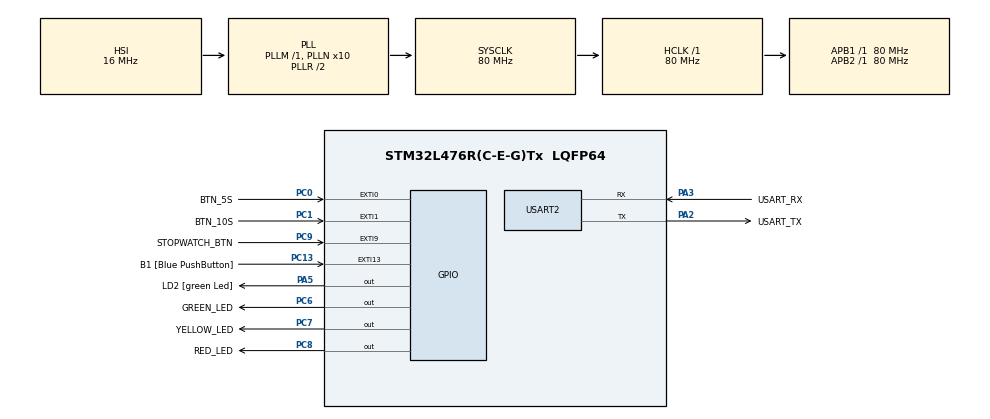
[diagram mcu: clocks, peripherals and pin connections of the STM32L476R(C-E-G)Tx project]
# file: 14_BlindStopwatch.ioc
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Mcu.Family=STM32L4
Mcu.Name=STM32L476R(C-E-G)Tx
Mcu.Package=LQFP64
NVIC.EXTI0_IRQn=true\:0\:0\:false\:false\:true\:true\:true\:true
NVIC.EXTI1_IRQn=true\:0\:0\:false\:false\:true\:true\:true\:true
NVIC.EXTI9_5_IRQn=true\:0\:0\:false\:false\:true\:true\:true\:true
NVIC.PriorityGroup=NVIC_PRIORITYGROUP_4
NVIC.TIM2_IRQn=true\:0\:0\:false\:false\:true\:true\:true\:true
PA13\ (JTMS-SWDIO).GPIO_Label=TMS
PA13\ (JTMS-SWDIO).Mode=Serial_Wire
PA13\ (JTMS-SWDIO).Signal=SYS_JTMS-SWDIO
PA14\ (JTCK-SWCLK).GPIO_Label=TCK
PA14\ (JTCK-SWCLK).Mode=Serial_Wire
PA14\ (JTCK-SWCLK).Signal=SYS_JTCK-SWCLK
PA2.GPIO_Label=USART_TX
PA2.GPIO_Mode=GPIO_MODE_AF_PP
PA2.GPIO_PuPd=GPIO_NOPULL
PA2.GPIO_Speed=GPIO_SPEED_FREQ_VERY_HIGH
PA2.Mode=Asynchronous
PA2.Signal=USART2_TX
PA3.GPIO_Label=USART_RX
PA3.GPIO_Mode=GPIO_MODE_AF_PP
PA3.GPIO_PuPd=GPIO_NOPULL
PA3.GPIO_Speed=GPIO_SPEED_FREQ_VERY_HIGH
PA3.Mode=Asynchronous
PA3.Signal=USART2_RX
PA5.GPIO_Label=LD2 [green Led]
PA5.GPIO_ModeDefaultOutputPP=GPIO_MODE_OUTPUT_PP
PA5.GPIO_PuPd=GPIO_NOPULL
PA5.GPIO_Speed=GPIO_SPEED_FREQ_LOW
PA5.Signal=GPIO_Output
PB3\ (JTDO-TRACESWO).GPIO_Label=SWO
PB3\ (JTDO-TRACESWO).Signal=SYS_JTDO-SWO
PC0.GPIO_Label=BTN_5S
PC0.GPIO_ModeDefaultEXTI=GPIO_MODE_IT_FALLING
PC0.GPIO_PuPd=GPIO_PULLUP
PC0.Signal=GPXTI0
PC1.GPIO_Label=BTN_10S
PC1.GPIO_ModeDefaultEXTI=GPIO_MODE_IT_FALLING
PC1.GPIO_PuPd=GPIO_PULLUP
PC1.Signal=GPXTI1
PC13.GPIO_Label=B1 [Blue PushButton]
PC13.GPIO_ModeDefaultEXTI=GPIO_MODE_IT_FALLING
PC13.GPIO_PuPd=GPIO_NOPULL
PC13.Signal=GPXTI13
PC14-OSC32_IN\ (PC14).Mode=LSE-External-Oscillator
PC14-OSC32_IN\ (PC14).Signal=RCC_OSC32_IN
PC15-OSC32_OUT\ (PC15).Mode=LSE-External-Oscillator
PC15-OSC32_OUT\ (PC15).Signal=RCC_OSC32_OUT
PC6.GPIO_Label=GREEN_LED
PC6.Signal=GPIO_Output
PC7.GPIO_Label=YELLOW_LED
PC7.Signal=GPIO_Output
PC8.GPIO_Label=RED_LED
PC8.Signal=GPIO_Output
PC9.GPIO_Label=STOPWATCH_BTN
PC9.GPIO_ModeDefaultEXTI=GPIO_MODE_IT_FALLING
PC9.GPIO_PuPd=GPIO_PULLUP
PC9.Signal=GPXTI9
PH0-OSC_IN\ (PH0).Signal=RCC_OSC_IN
PH1-OSC_OUT\ (PH1).Signal=RCC_OSC_OUT
ProjectManager.HeapSize=0x200
ProjectManager.StackSize=0x400
ProjectManager.TargetToolchain=STM32CubeIDE
RCC.ADCFreq_Value=64000000
RCC.AHBFreq_Value=80000000
RCC.APB1Freq_Value=80000000
RCC.APB1TimFreq_Value=80000000
RCC.APB2Freq_Value=80000000
RCC.APB2TimFreq_Value=80000000
RCC.CortexFreq_Value=80000000
RCC.HCLKFreq_Value=80000000
RCC.HSE_VALUE=8000000
RCC.HSI_VALUE=16000000
RCC.MSI_VALUE=4000000
RCC.PLLN=10
RCC.PLLSourceVirtual=RCC_PLLSOURCE_HSI
RCC.PREFETCH_ENABLE=1
RCC.SYSCLKFreq_VALUE=80000000
RCC.SYSCLKSource=RCC_SYSCLKSOURCE_PLLCLK
RCC.USBFreq_Value=64000000
RCC.VCOOutputFreq_Value=160000000
TIM2.AutoReloadPreload=TIM_AUTORELOAD_PRELOAD_ENABLE
TIM2.Period=14999999
TIM2.Prescaler=79
USART2.VirtualMode-Asynchronous=VM_ASYNC
VP_TIM2_VS_ClockSourceINT.Mode=Internal
board=NUCLEO-L476RG

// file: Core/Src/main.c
/* USER CODE BEGIN Header */
/**
  ******************************************************************************
  * @file           : main.c
  * @brief          : Main program body
  ******************************************************************************
  * @attention
  *
  * Copyright (c) 2026 STMicroelectronics.
  * All rights reserved.
  *
  * This software is licensed under terms that can be found in the LICENSE file
  * in the root directory of this software component.
  * If no LICENSE file comes with this software, it is provided AS-IS.
  *
  ******************************************************************************
  */
/* USER CODE END Header */
#include "main.h"

/* USER CODE BEGIN Includes */
#include <stdio.h>
#include <string.h>
#include <stdlib.h>
/* USER CODE END Includes */

/* USER CODE BEGIN PTD */
typedef enum
{
	STATE_IDLE,
	STATE_MODE_5S_CHOSEN,
	STATE_WAITING_TO_START_5S,
	STATE_RUNNING_5S,
	STATE_WAITING_TO_STOP_5S,
	STATE_EVALUATE_5S,
	STATE_MODE_10S_CHOSEN,
	STATE_WAITING_TO_START_10S,
	STATE_RUNNING_10S,
	STATE_WAITING_TO_STOP_10S,
	STATE_EVALUATE_10S,
	STATE_TIMEOUT
} GameState_t;
/* USER CODE END PTD */

/* USER CODE BEGIN PD */
GameState_t current_state = STATE_IDLE;
char tx_buffer[64];

volatile uint32_t final_time = 0;
volatile uint32_t last_button_press = 0;

int32_t current_score = 0;
/* USER CODE END PD */

TIM_HandleTypeDef htim2;

UART_HandleTypeDef huart2;

void SystemClock_Config(void);
static void MX_GPIO_Init(void);
static void MX_TIM2_Init(void);
static void MX_USART2_UART_Init(void);

int main(void)
{

  /* MCU Configuration--------------------------------------------------------*/

  /* Reset of all peripherals, Initializes the Flash interface and the Systick. */
  HAL_Init();

  /* Configure the system clock */
  SystemClock_Config();

  /* Initialize all configured peripherals */
  MX_GPIO_Init();
  MX_TIM2_Init();
  MX_USART2_UART_Init();
  /* USER CODE BEGIN 2 */
  snprintf(tx_buffer, sizeof(tx_buffer), "\r\n*** BLIND STOPWATCH ***\r\nSelect Mode: Press 5S or 10S Button to begin!\r\n");
  HAL_UART_Transmit(&huart2, (uint8_t*)tx_buffer, strlen(tx_buffer), 100);
  /* USER CODE END 2 */

  /* Infinite loop */
  /* USER CODE BEGIN WHILE */
  while (1)
  {
	  switch (current_state)
	  {
	  case STATE_IDLE:
	  case STATE_WAITING_TO_START_5S:
	  case STATE_WAITING_TO_STOP_5S:
	  case STATE_WAITING_TO_START_10S:
	  case STATE_WAITING_TO_STOP_10S:
		  // Do nothing. The CPU just spins here while the hardware waits for a button press
		  break;

	  case STATE_MODE_5S_CHOSEN:
		  // Turn OFF LEDs
		  HAL_GPIO_WritePin(GREEN_LED_GPIO_Port, GREEN_LED_Pin, GPIO_PIN_RESET);
		  HAL_GPIO_WritePin(YELLOW_LED_GPIO_Port, YELLOW_LED_Pin, GPIO_PIN_RESET);
		  HAL_GPIO_WritePin(RED_LED_GPIO_Port, RED_LED_Pin, GPIO_PIN_RESET);

		  // Text
		  snprintf(tx_buffer, sizeof(tx_buffer), "\r\n--- 5S MODE ---\r\nClick STOPWATCH button to START!\r\n");
		  HAL_UART_Transmit(&huart2, (uint8_t*)tx_buffer, strlen(tx_buffer), 100);

		  current_state = STATE_WAITING_TO_START_5S;
		  break;

	  case STATE_MODE_10S_CHOSEN:
		  // Turn OFF LEDs
		  HAL_GPIO_WritePin(GREEN_LED_GPIO_Port, GREEN_LED_Pin, GPIO_PIN_RESET);
		  HAL_GPIO_WritePin(YELLOW_LED_GPIO_Port, YELLOW_LED_Pin, GPIO_PIN_RESET);
		  HAL_GPIO_WritePin(RED_LED_GPIO_Port, RED_LED_Pin, GPIO_PIN_RESET);

		  // Text
		  snprintf(tx_buffer, sizeof(tx_buffer), "\r\n--- 10S MODE ---\r\nClick STOPWATCH button to START!\r\n");
		  HAL_UART_Transmit(&huart2, (uint8_t*)tx_buffer, strlen(tx_buffer), 100);

		  current_state = STATE_WAITING_TO_START_10S;
		  break;

	  case STATE_EVALUATE_5S:
	  {
  		  int32_t target_5S = 5000000;
  		  int32_t result_5S = abs(final_time - target_5S);

  		  // Extracting seconds and miliseconds for printing
  		  uint32_t sec = final_time / 1000000;
  		  uint32_t ms = (final_time % 1000000) / 1000;

  		  // 500000 = 500ms = 0.5s
  		  // 100000 = 1s
  		  if (result_5S < 500000)
  		  {
  			  // Green LED user gets 1000 points
  			  current_score += 1000;
  			  HAL_GPIO_WritePin(GREEN_LED_GPIO_Port, GREEN_LED_Pin, GPIO_PIN_SET);
  			  snprintf(tx_buffer, sizeof(tx_buffer), "Time: %lu.%03lus | GREEN (+1000 pts) | Score: %ld\r\n", sec, ms, current_score);
  		  }
  		  else if (result_5S >= 500000 && result_5S < 1000000)
  		  {
  			  // Yellow LED user gets 0 points
  			  HAL_GPIO_WritePin(YELLOW_LED_GPIO_Port, YELLOW_LED_Pin, GPIO_PIN_SET);
  			  snprintf(tx_buffer, sizeof(tx_buffer), "Time: %lu.%03lus | YELLOW (+0 pts)| Score: %ld\r\n", sec, ms, current_score);
  		  }
  		  else if (result_5S >= 1000000)
  		  {
  			  // Red LED user gets -500 points
  			  current_score -= 500;
  			  HAL_GPIO_WritePin(RED_LED_GPIO_Port, RED_LED_Pin, GPIO_PIN_SET);
  			  snprintf(tx_buffer, sizeof(tx_buffer), "Time: %lu.%03lus | RED (-500 pts) | Score: %ld\r\n", sec, ms, current_score);
  		  }
  		  HAL_UART_Transmit(&huart2, (uint8_t*)tx_buffer, strlen(tx_buffer), 100);

  		  // Win/loss reset condition
  		  if (current_score >= 5000)
  		  {
  			  snprintf(tx_buffer, sizeof(tx_buffer), "\r\n*** YOU WIN! 5000 POINTS REACHED! ***\r\n\r\n");
  			  HAL_UART_Transmit(&huart2, (uint8_t*)tx_buffer, strlen(tx_buffer), 100);
  			  current_score = 0;
  		  }
  		  else if (current_score <= -2000)
  		  {
  			  snprintf(tx_buffer, sizeof(tx_buffer), "\r\n*** GAME OVER. YOU DROPPED TO -2000 POINTS. ***\r\n\r\n");
  			  HAL_UART_Transmit(&huart2, (uint8_t*)tx_buffer, strlen(tx_buffer), 100);
  		  }

  		  // Prompt the user for the next round
		  snprintf(tx_buffer, sizeof(tx_buffer), "\r\nSelect Mode: Press 5S or 10S Button to begin!\r\n");
		  HAL_UART_Transmit(&huart2, (uint8_t*)tx_buffer, strlen(tx_buffer), 100);

  		  current_state = STATE_IDLE;	// Reset for the next round
  		  break;

	  }

	  	  case STATE_EVALUATE_10S:
	  	  {
	  		  int32_t target_10S = 10000000;
			  int32_t result_10S = abs(final_time - target_10S);

			  uint32_t sec = final_time / 1000000;
			  uint32_t ms = (final_time % 1000000) / 1000;

			  if (result_10S < 1000000)
			  {
				  // Green LED and +1000 pts
				  current_score += 1000;
				  HAL_GPIO_WritePin(GREEN_LED_GPIO_Port, GREEN_LED_Pin, GPIO_PIN_SET);
				  snprintf(tx_buffer, sizeof(tx_buffer), "Time: %lu.%03lus | GREEN (+1000 pts) | Score: %ld\r\n", sec, ms, current_score);
			  }
			  else if (result_10S <= 1000000 && result_10S < 2000000)
			  {
				  // Yellow LED and +0 pts
				  HAL_GPIO_WritePin(YELLOW_LED_GPIO_Port, YELLOW_LED_Pin, GPIO_PIN_SET);
				  snprintf(tx_buffer, sizeof(tx_buffer), "Time: %lu.%03lus | YELLOW (+0 pts) | Score: %ld\r\n", sec, ms, current_score);
			  }
			  else if (result_10S >= 2000000)
			  {
				  // Red LED and -500 pts
				  current_score -= 500;
				  HAL_GPIO_WritePin(RED_LED_GPIO_Port, RED_LED_Pin, GPIO_PIN_SET);
				  snprintf(tx_buffer, sizeof(tx_buffer), "Time: %lu.%03lus | RED (-500 pts) | Score: %ld\r\n", sec, ms, current_score);
			  }
			  HAL_UART_Transmit(&huart2, (uint8_t*)tx_buffer, strlen(tx_buffer), 100);

			  // Win/loss reset condition
			  if (current_score >= 5000)
			  {
				  snprintf(tx_buffer, sizeof(tx_buffer), "\r\n*** YOU WIN! 5000 POINTS REACHED! ***\r\n\r\n");
				  HAL_UART_Transmit(&huart2, (uint8_t*)tx_buffer, strlen(tx_buffer), 100);
				  current_score = 0;
			  }
			  else if (current_score <= -2000)
			  {
				  snprintf(tx_buffer, sizeof(tx_buffer), "\r\n*** GAME OVER. YOU DROPPED TO -2000 POINTS. ***\r\n\r\n");
				  HAL_UART_Transmit(&huart2, (uint8_t*)tx_buffer, strlen(tx_buffer), 100);
				  current_score = 0;
			  }

			  // Prompt the user for the next round
			  snprintf(tx_buffer, sizeof(tx_buffer), "\r\nSelect Mode: Press 5S or 10S Button to begin!\r\n");
			  HAL_UART_Transmit(&huart2, (uint8_t*)tx_buffer, strlen(tx_buffer), 100);

			  current_state = STATE_IDLE;
			  break;
	  	  }

	  	  case STATE_RUNNING_5S:
	  		  snprintf(tx_buffer, sizeof(tx_buffer), "Timer is running... Count 5s!\r\n");
	  		  HAL_UART_Transmit(&huart2, (uint8_t*)tx_buffer, strlen(tx_buffer), 100);
	  		  current_state = STATE_WAITING_TO_STOP_5S;
	  		  break;

	  	  case STATE_RUNNING_10S:
	  		  snprintf(tx_buffer, sizeof(tx_buffer), "Timer is running... Count 10s!\r\n");
	  		  HAL_UART_Transmit(&huart2, (uint8_t*)tx_buffer, strlen(tx_buffer), 100);
	  		  current_state = STATE_WAITING_TO_STOP_10S;
	  		  break;

	  	  case STATE_TIMEOUT:
	  		  current_score -= 500;
	  		  HAL_GPIO_WritePin(RED_LED_GPIO_Port, RED_LED_Pin, GPIO_PIN_SET);
	  		  snprintf(tx_buffer, sizeof(tx_buffer), "TIMEOUT!\r\n");
	  		  HAL_UART_Transmit(&huart2, (uint8_t*)tx_buffer, strlen(tx_buffer), 100);

	  		  if (current_score <= -2000)
	  		  {
	  			  snprintf(tx_buffer, sizeof(tx_buffer), "GAME OVER. YOU DROPPED TO -2000 POINTS\r\n\r\n");
	  			  HAL_UART_Transmit(&huart2, (uint8_t*)tx_buffer, strlen(tx_buffer), 100);
	  			  current_score = 0;
	  		  }

	  		  // Prompt the user for the next round
			  snprintf(tx_buffer, sizeof(tx_buffer), "\r\nSelect Mode: Press 5S or 10S Button to begin!\r\n");
			  HAL_UART_Transmit(&huart2, (uint8_t*)tx_buffer, strlen(tx_buffer), 100);

	  		  current_state = STATE_IDLE;
	  		  break;
	  }
    /* USER CODE END WHILE */

  }
}

void SystemClock_Config(void)
{
  RCC_OscInitTypeDef RCC_OscInitStruct = {0};
  RCC_ClkInitTypeDef RCC_ClkInitStruct = {0};

  /** Configure the main internal regulator output voltage
  */
  if (HAL_PWREx_ControlVoltageScaling(PWR_REGULATOR_VOLTAGE_SCALE1) != HAL_OK)
  {
    Error_Handler();
  }

  /** Initializes the RCC Oscillators according to the specified parameters
  * in the RCC_OscInitTypeDef structure.
  */
  RCC_OscInitStruct.OscillatorType = RCC_OSCILLATORTYPE_HSI;
  RCC_OscInitStruct.HSIState = RCC_HSI_ON;
  RCC_OscInitStruct.HSICalibrationValue = RCC_HSICALIBRATION_DEFAULT;
  RCC_OscInitStruct.PLL.PLLState = RCC_PLL_ON;
  RCC_OscInitStruct.PLL.PLLSource = RCC_PLLSOURCE_HSI;
  RCC_OscInitStruct.PLL.PLLM = 1;
  RCC_OscInitStruct.PLL.PLLN = 10;
  RCC_OscInitStruct.PLL.PLLP = RCC_PLLP_DIV7;
  RCC_OscInitStruct.PLL.PLLQ = RCC_PLLQ_DIV2;
  RCC_OscInitStruct.PLL.PLLR = RCC_PLLR_DIV2;
  if (HAL_RCC_OscConfig(&RCC_OscInitStruct) != HAL_OK)
  {
    Error_Handler();
  }

  /** Initializes the CPU, AHB and APB buses clocks
  */
  RCC_ClkInitStruct.ClockType = RCC_CLOCKTYPE_HCLK|RCC_CLOCKTYPE_SYSCLK
                              |RCC_CLOCKTYPE_PCLK1|RCC_CLOCKTYPE_PCLK2;
  RCC_ClkInitStruct.SYSCLKSource = RCC_SYSCLKSOURCE_PLLCLK;
  RCC_ClkInitStruct.AHBCLKDivider = RCC_SYSCLK_DIV1;
  RCC_ClkInitStruct.APB1CLKDivider = RCC_HCLK_DIV1;
  RCC_ClkInitStruct.APB2CLKDivider = RCC_HCLK_DIV1;

  if (HAL_RCC_ClockConfig(&RCC_ClkInitStruct, FLASH_LATENCY_4) != HAL_OK)
  {
    Error_Handler();
  }
}

static void MX_TIM2_Init(void)
{

  TIM_ClockConfigTypeDef sClockSourceConfig = {0};
  TIM_MasterConfigTypeDef sMasterConfig = {0};

  htim2.Instance = TIM2;
  htim2.Init.Prescaler = 79;
  htim2.Init.CounterMode = TIM_COUNTERMODE_UP;
  htim2.Init.Period = 14999999;
  htim2.Init.ClockDivision = TIM_CLOCKDIVISION_DIV1;
  htim2.Init.AutoReloadPreload = TIM_AUTORELOAD_PRELOAD_ENABLE;
  if (HAL_TIM_Base_Init(&htim2) != HAL_OK)
  {
    Error_Handler();
  }
  sClockSourceConfig.ClockSource = TIM_CLOCKSOURCE_INTERNAL;
  if (HAL_TIM_ConfigClockSource(&htim2, &sClockSourceConfig) != HAL_OK)
  {
    Error_Handler();
  }
  sMasterConfig.MasterOutputTrigger = TIM_TRGO_RESET;
  sMasterConfig.MasterSlaveMode = TIM_MASTERSLAVEMODE_DISABLE;
  if (HAL_TIMEx_MasterConfigSynchronization(&htim2, &sMasterConfig) != HAL_OK)
  {
    Error_Handler();
  }

}

static void MX_USART2_UART_Init(void)
{

  huart2.Instance = USART2;
  huart2.Init.BaudRate = 115200;
  huart2.Init.WordLength = UART_WORDLENGTH_8B;
  huart2.Init.StopBits = UART_STOPBITS_1;
  huart2.Init.Parity = UART_PARITY_NONE;
  huart2.Init.Mode = UART_MODE_TX_RX;
  huart2.Init.HwFlowCtl = UART_HWCONTROL_NONE;
  huart2.Init.OverSampling = UART_OVERSAMPLING_16;
  huart2.Init.OneBitSampling = UART_ONE_BIT_SAMPLE_DISABLE;
  huart2.AdvancedInit.AdvFeatureInit = UART_ADVFEATURE_NO_INIT;
  if (HAL_UART_Init(&huart2) != HAL_OK)
  {
    Error_Handler();
  }

}

static void MX_GPIO_Init(void)
{
  GPIO_InitTypeDef GPIO_InitStruct = {0};

  /* GPIO Ports Clock Enable */
  __HAL_RCC_GPIOC_CLK_ENABLE();
  __HAL_RCC_GPIOH_CLK_ENABLE();
  __HAL_RCC_GPIOA_CLK_ENABLE();
  __HAL_RCC_GPIOB_CLK_ENABLE();

  /*Configure GPIO pin Output Level */
  HAL_GPIO_WritePin(LD2_GPIO_Port, LD2_Pin, GPIO_PIN_RESET);

  /*Configure GPIO pin Output Level */
  HAL_GPIO_WritePin(GPIOC, GREEN_LED_Pin|YELLOW_LED_Pin|RED_LED_Pin, GPIO_PIN_RESET);

  /*Configure GPIO pin : B1_Pin */
  GPIO_InitStruct.Pin = B1_Pin;
  GPIO_InitStruct.Mode = GPIO_MODE_IT_FALLING;
  GPIO_InitStruct.Pull = GPIO_NOPULL;
  HAL_GPIO_Init(B1_GPIO_Port, &GPIO_InitStruct);

  /*Configure GPIO pins : BTN_5S_Pin BTN_10S_Pin STOPWATCH_BTN_Pin */
  GPIO_InitStruct.Pin = BTN_5S_Pin|BTN_10S_Pin|STOPWATCH_BTN_Pin;
  GPIO_InitStruct.Mode = GPIO_MODE_IT_FALLING;
  GPIO_InitStruct.Pull = GPIO_PULLUP;
  HAL_GPIO_Init(GPIOC, &GPIO_InitStruct);

  /*Configure GPIO pin : LD2_Pin */
  GPIO_InitStruct.Pin = LD2_Pin;
  GPIO_InitStruct.Mode = GPIO_MODE_OUTPUT_PP;
  GPIO_InitStruct.Pull = GPIO_NOPULL;
  GPIO_InitStruct.Speed = GPIO_SPEED_FREQ_LOW;
  HAL_GPIO_Init(LD2_GPIO_Port, &GPIO_InitStruct);

  /*Configure GPIO pins : GREEN_LED_Pin YELLOW_LED_Pin RED_LED_Pin */
  GPIO_InitStruct.Pin = GREEN_LED_Pin|YELLOW_LED_Pin|RED_LED_Pin;
  GPIO_InitStruct.Mode = GPIO_MODE_OUTPUT_PP;
  GPIO_InitStruct.Pull = GPIO_NOPULL;
  GPIO_InitStruct.Speed = GPIO_SPEED_FREQ_LOW;
  HAL_GPIO_Init(GPIOC, &GPIO_InitStruct);

  /* EXTI interrupt init*/
  HAL_NVIC_SetPriority(EXTI0_IRQn, 0, 0);
  HAL_NVIC_EnableIRQ(EXTI0_IRQn);

  HAL_NVIC_SetPriority(EXTI1_IRQn, 0, 0);
  HAL_NVIC_EnableIRQ(EXTI1_IRQn);

  HAL_NVIC_SetPriority(EXTI9_5_IRQn, 0, 0);
  HAL_NVIC_EnableIRQ(EXTI9_5_IRQn);

}

/* USER CODE BEGIN 4 */
void HAL_GPIO_EXTI_Callback(uint16_t GPIO_Pin)
{
	// Debounce filter
	uint32_t current_time = HAL_GetTick();
	if (current_time - last_button_press < 250)	// Ignore inputs faster than 250ms
	{
		return;
	}
	last_button_press = current_time;

	// 5-Second mode
	if (GPIO_Pin == BTN_5S_Pin && current_state == STATE_IDLE)
	{
		TIM2->CNT = 0;
		current_state = STATE_MODE_5S_CHOSEN;
	}
	// 10-Second mode
	else if (GPIO_Pin == BTN_10S_Pin && current_state == STATE_IDLE)
	{
		TIM2->CNT = 0;
		current_state = STATE_MODE_10S_CHOSEN;
	}

	// Stopwatch button
	else if (GPIO_Pin == STOPWATCH_BTN_Pin)
	{
		// Starting the timer
		if (current_state == STATE_WAITING_TO_START_5S)
		{
			TIM2->CNT = 0;
			HAL_TIM_Base_Start_IT(&htim2);
			current_state = STATE_RUNNING_5S;	// Signals main loop to print "Timer running"
		}
		else if (current_state == STATE_WAITING_TO_START_10S)
		{
			TIM2->CNT = 0;
			HAL_TIM_Base_Start_IT(&htim2);
			current_state = STATE_RUNNING_10S;
		}

		// Stopping the timer
		else if (current_state == STATE_WAITING_TO_STOP_5S)
		{
			final_time = TIM2->CNT;
			HAL_TIM_Base_Stop_IT(&htim2);
			current_state = STATE_EVALUATE_5S;	// Signals main loop to calculate score
		}
		else if (current_state == STATE_WAITING_TO_STOP_10S)
		{
			final_time = TIM2->CNT;
			HAL_TIM_Base_Stop_IT(&htim2);
			current_state = STATE_EVALUATE_10S;
		}
	}
}

void HAL_TIM_PeriodElapsedCallback(TIM_HandleTypeDef *htim)
{
	if (htim->Instance == TIM2)
	{
		// 15 sec ARR limit was hit
		HAL_TIM_Base_Stop_IT(&htim2);
		current_state = STATE_TIMEOUT;
	}
}
/* USER CODE END 4 */

void Error_Handler(void)
{
  __disable_irq();
  while (1)
  {
  }
}
